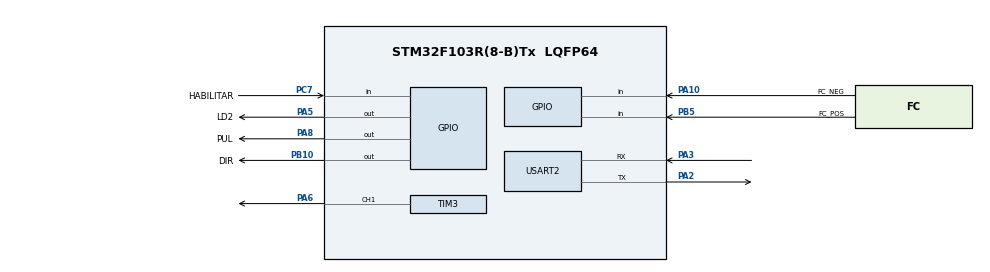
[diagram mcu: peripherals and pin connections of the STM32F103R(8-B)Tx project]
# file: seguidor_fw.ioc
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Mcu.Family=STM32F1
Mcu.Name=STM32F103R(8-B)Tx
Mcu.Package=LQFP64
NVIC.PriorityGroup=NVIC_PRIORITYGROUP_4
NVIC.TIM2_IRQn=true\:0\:0\:false\:false\:true\:true\:true\:true
NVIC.USART2_IRQn=true\:0\:0\:false\:false\:true\:true\:true\:true
PA10.GPIO_Label=FC_NEG
PA10.GPIO_PuPd=GPIO_PULLUP
PA10.Signal=GPIO_Input
PA2.Mode=Asynchronous
PA2.Signal=USART2_TX
PA3.Mode=Asynchronous
PA3.Signal=USART2_RX
PA5.GPIO_Label=LD2
PA5.Signal=GPIO_Output
PA6.Signal=S_TIM3_CH1
PA8.GPIO_Label=PUL
PA8.Signal=GPIO_Output
PB10.GPIO_Label=DIR
PB10.Signal=GPIO_Output
PB5.GPIO_Label=FC_POS
PB5.GPIO_PuPd=GPIO_PULLUP
PB5.Signal=GPIO_Input
PC7.GPIO_Label=HABILITAR
PC7.GPIO_PuPd=GPIO_PULLUP
PC7.Signal=GPIO_Input
ProjectManager.HeapSize=0x200
ProjectManager.StackSize=0x400
ProjectManager.TargetToolchain=STM32CubeIDE
RCC.APB1Freq_Value=8000000
RCC.APB1TimFreq_Value=8000000
RCC.APB2Freq_Value=8000000
SH.S_TIM3_CH1.0=TIM3_CH1,PWM Generation1 CH1
TIM2.Period=499
TIM2.Prescaler=7
TIM3.Channel-PWM\ Generation1\ CH1=TIM_CHANNEL_1
TIM3.Period=19999
TIM3.Prescaler=7
TIM3.Pulse-PWM\ Generation1\ CH1=1500
USART2.VirtualMode=VM_ASYNC
VP_SYS_VS_ND.Mode=No_Debug
VP_TIM2_VS_ClockSourceINT.Mode=Internal
VP_TIM3_VS_ClockSourceINT.Mode=Internal
board=custom

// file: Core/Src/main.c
/* USER CODE BEGIN Header */
/**
  ******************************************************************************
  * @file           : main.c
  * @brief          : Main program body
  ******************************************************************************
  * @attention
  *
  * Copyright (c) 2026 STMicroelectronics.
  * All rights reserved.
  *
  * This software is licensed under terms that can be found in the LICENSE file
  * in the root directory of this software component.
  * If no LICENSE file comes with this software, it is provided AS-IS.
  *
  ******************************************************************************
  */
/* USER CODE END Header */
#include "main.h"

/* USER CODE BEGIN Includes */
#include <stdio.h>
#include <string.h>
/* USER CODE END Includes */

TIM_HandleTypeDef htim2;
TIM_HandleTypeDef htim3;

UART_HandleTypeDef huart2;

/* USER CODE BEGIN PV */
static uint8_t rx_byte;                 // el byte que acaba de llegar
static char rx_buf[32];                 // la línea que se está armando
static uint8_t rx_len = 0;              // cuántos caracteres lleva
static char linea[32];                  // la última línea completa
static volatile uint8_t linea_lista = 0;

#define SERVO_US_MIN   500   // pulso para 0°
#define SERVO_US_MAX   2000   // pulso para 180°
#define TILT_MIN       0      // décimas de grado
#define TILT_MAX       1800

#define PASOS_POR_VUELTA  1600    // 200 pasos x 8 micropasos
#define PAN_MIN           -900   // décimas de grado
#define PAN_MAX           900

static volatile int32_t pan_pos = 0;   // pasos dados desde el arranque
static volatile int32_t pan_obj = 0;   // pasos a los que hay que ir
static uint8_t pul_alto = 0;
static int8_t dir_actual = 0;

#define FC_ACTIVO   GPIO_PIN_RESET   // botones NO: apretado = 0
static uint8_t bloqueo_pos = 0;   // se tocó FC_POS, no avanzar hacia +
static uint8_t bloqueo_neg = 0;   // se tocó FC_NEG, no avanzar hacia −

// Devuelve 1 si el interruptor está en ON (pin a GND = 0), 0 si está en OFF.
// Es una macro: el compilador reemplaza HABILITADO() por la lectura del pin
// en cada lugar donde aparece. Evita repetir la misma línea larga 4 veces.
#define HABILITADO()  (HAL_GPIO_ReadPin(HABILITAR_GPIO_Port, HABILITAR_Pin) == GPIO_PIN_RESET)

// Último estado del interruptor que se le informó a la Raspberry.
static uint8_t en_informado = 0;
// Última vez (en ms) que el pin coincidía con lo informado.
// Sirve para medir cuánto tiempo lleva el pin en un valor distinto.
static uint32_t t_en_estable = 0;

/* USER CODE END PV */

void SystemClock_Config(void);
static void MX_GPIO_Init(void);
static void MX_USART2_UART_Init(void);
static void MX_TIM3_Init(void);
static void MX_TIM2_Init(void);

/* USER CODE BEGIN 0 */
void HAL_UART_RxCpltCallback(UART_HandleTypeDef *huart)
{
	if (huart ->Instance == USART2)
	{
		if (rx_byte == '\r' || rx_byte == '\n')
		{
			if (rx_len > 0 && !linea_lista)
			{
				rx_buf[rx_len] = '\0';
				memcpy(linea, rx_buf, rx_len +1);
				linea_lista = 1;
			}
			rx_len = 0;
		}
		else if (rx_len < sizeof(rx_buf) -1)
		{
			rx_buf[rx_len++] = rx_byte;
		}
		HAL_UART_Receive_IT(&huart2, &rx_byte, 1);
	}
}

static void servo_tilt(long decimas)
{
	uint32_t us = SERVO_US_MIN + (uint32_t) decimas * (SERVO_US_MAX - SERVO_US_MIN) / 1800;
	__HAL_TIM_SET_COMPARE(&htim3, TIM_CHANNEL_1, us);
}

void HAL_TIM_PeriodElapsedCallback(TIM_HandleTypeDef *htim)
{
	if (htim->Instance != TIM2) return;

	if (pul_alto)
	{
	HAL_GPIO_WritePin(PUL_GPIO_Port, PUL_Pin, GPIO_PIN_RESET);
	pul_alto = 0;
	return;
	}

	// Interruptor en OFF: no se da ningún paso.
	// Además se cancela el objetivo, para que al volver a ON
	// el motor no salte a una orden vieja que quedó pendiente.
	if (!HABILITADO())
	{
	pan_obj = pan_pos;
	return;
	}

	int32_t error = pan_obj - pan_pos;
	if (error == 0) return;

	int8_t dir = (error > 0) ? 1 : -1;

	if (dir > 0 && HAL_GPIO_ReadPin(FC_POS_GPIO_Port, FC_POS_Pin) == FC_ACTIVO) bloqueo_pos = 1;
	if (dir < 0 && HAL_GPIO_ReadPin(FC_NEG_GPIO_Port, FC_NEG_Pin) == FC_ACTIVO) bloqueo_neg = 1;

	if ((dir > 0 && bloqueo_pos) || (dir < 0 && bloqueo_neg))
	{
	pan_obj = pan_pos;
	return;
	}

	if (dir != dir_actual)
	{
	HAL_GPIO_WritePin(DIR_GPIO_Port, DIR_Pin,
					  (dir > 0) ? GPIO_PIN_SET : GPIO_PIN_RESET);
	dir_actual = dir;
	return;
	}

	HAL_GPIO_WritePin(PUL_GPIO_Port, PUL_Pin, GPIO_PIN_SET);
	pul_alto = 1;
	pan_pos += dir;

	if (dir > 0) bloqueo_neg = 0;
	if (dir < 0) bloqueo_pos = 0;
}

// Envía a la Raspberry el estado del interruptor: "EN1" habilitado, "EN0" deshabilitado.
// Se llama al arrancar y cada vez que el interruptor cambia.
static void informar_en(uint8_t en)
{
	char msg[8];
	snprintf(msg, sizeof(msg), "EN%d\r\n", en);
	HAL_UART_Transmit(&huart2, (uint8_t *)msg, strlen(msg), 100);
}

static void procesar_linea(const char *s)
{
	char resp[64];
	long pan, tilt;

	if (strcmp(s, "S") == 0)
	{
	    int fn = (HAL_GPIO_ReadPin(FC_NEG_GPIO_Port, FC_NEG_Pin) == FC_ACTIVO);
	    int fp = (HAL_GPIO_ReadPin(FC_POS_GPIO_Port, FC_POS_Pin) == FC_ACTIVO);
		long pos = (long)pan_pos * 3600 / PASOS_POR_VUELTA;
		long obj = (long)pan_obj * 3600 / PASOS_POR_VUELTA;
	    snprintf(resp, sizeof(resp), "ST POS%ld OBJ%ld FN%d FP%d BN%d BP%d EN%d\r\n",
	             pos, obj, fn, fp, bloqueo_neg, bloqueo_pos, HABILITADO());
	    HAL_UART_Transmit(&huart2, (uint8_t *)resp, strlen(resp), 100);
		return;
	}

	// Interruptor en OFF: no se mueve nada. Se responde OFF
	// para que la Raspberry sepa que la orden no se ejecutó.
	if (!HABILITADO())
	{
	snprintf(resp, sizeof(resp), "OFF\r\n");
	HAL_UART_Transmit(&huart2, (uint8_t *)resp, strlen(resp), 100);
	return;
	}

	if(sscanf(s, "P%ld T%ld", &pan, &tilt) == 2)
	{
		if (tilt < TILT_MIN) tilt = TILT_MIN;
		if (tilt > TILT_MAX) tilt = TILT_MAX;
		servo_tilt(tilt);

	    if (pan < PAN_MIN) pan = PAN_MIN;
	    if (pan > PAN_MAX) pan = PAN_MAX;
	    pan_obj = (int32_t)pan * PASOS_POR_VUELTA / 3600;

		snprintf(resp, sizeof(resp), "OK P%ld T%ld\r\n", pan, tilt);
	}
	else
	{
		snprintf(resp, sizeof(resp), "ERR\r\n");
	}
	HAL_UART_Transmit(&huart2, (uint8_t *)resp, strlen(resp), 100);
}
/* USER CODE END 0 */

int main(void)
{

  /* MCU Configuration--------------------------------------------------------*/

  /* Reset of all peripherals, Initializes the Flash interface and the Systick. */
  HAL_Init();

  /* Configure the system clock */
  SystemClock_Config();

  /* Initialize all configured peripherals */
  MX_GPIO_Init();
  MX_USART2_UART_Init();
  MX_TIM3_Init();
  MX_TIM2_Init();

  /* USER CODE BEGIN 2 */
  HAL_UART_Receive_IT(&huart2, &rx_byte, 1);
  uint32_t t_led = HAL_GetTick();
  HAL_TIM_PWM_Start(&htim3, TIM_CHANNEL_1);
  HAL_TIM_Base_Start_IT(&htim2);

  // Informar el estado inicial del interruptor al arrancar.
  en_informado = HABILITADO();
  t_en_estable = HAL_GetTick();
  informar_en(en_informado);
  /* USER CODE END 2 */

  /* Infinite loop */
  while (1)
  {

    /* USER CODE BEGIN 3 */
	  if (linea_lista)
	  {
		  procesar_linea(linea);
		  linea_lista = 0;
	  }

	// Antirrebote del interruptor, solo para el aviso a la Raspberry.
	// Si el pin cambió, se espera a que pasen 20 ms seguidos sin volver atrás.
	uint8_t en_ahora = HABILITADO();
	if (en_ahora == en_informado)
	{
	  t_en_estable = HAL_GetTick();
	}
	else if (HAL_GetTick() - t_en_estable >= 20)
	{
	  en_informado = en_ahora;
	  informar_en(en_informado);
	}

	// LD2: apagado = motores deshabilitados
	//      fijo     = algún fin de carrera activo
	//      parpadea = todo normal
	if (!HABILITADO())
	{
	  HAL_GPIO_WritePin(LD2_GPIO_Port, LD2_Pin, GPIO_PIN_RESET);
	}
	else if (HAL_GPIO_ReadPin(FC_NEG_GPIO_Port, FC_NEG_Pin) == FC_ACTIVO ||
			 HAL_GPIO_ReadPin(FC_POS_GPIO_Port, FC_POS_Pin) == FC_ACTIVO)
	{
	  HAL_GPIO_WritePin(LD2_GPIO_Port, LD2_Pin, GPIO_PIN_SET);
	}
	else if (HAL_GetTick() - t_led >= 500)
	{
	  t_led = HAL_GetTick();
	  HAL_GPIO_TogglePin(LD2_GPIO_Port, LD2_Pin);
	}
	}
  /* USER CODE END 3 */
}

void SystemClock_Config(void)
{
  RCC_OscInitTypeDef RCC_OscInitStruct = {0};
  RCC_ClkInitTypeDef RCC_ClkInitStruct = {0};

  /** Initializes the RCC Oscillators according to the specified parameters
  * in the RCC_OscInitTypeDef structure.
  */
  RCC_OscInitStruct.OscillatorType = RCC_OSCILLATORTYPE_HSI;
  RCC_OscInitStruct.HSIState = RCC_HSI_ON;
  RCC_OscInitStruct.HSICalibrationValue = RCC_HSICALIBRATION_DEFAULT;
  RCC_OscInitStruct.PLL.PLLState = RCC_PLL_NONE;
  if (HAL_RCC_OscConfig(&RCC_OscInitStruct) != HAL_OK)
  {
    Error_Handler();
  }

  /** Initializes the CPU, AHB and APB buses clocks
  */
  RCC_ClkInitStruct.ClockType = RCC_CLOCKTYPE_HCLK|RCC_CLOCKTYPE_SYSCLK
                              |RCC_CLOCKTYPE_PCLK1|RCC_CLOCKTYPE_PCLK2;
  RCC_ClkInitStruct.SYSCLKSource = RCC_SYSCLKSOURCE_HSI;
  RCC_ClkInitStruct.AHBCLKDivider = RCC_SYSCLK_DIV1;
  RCC_ClkInitStruct.APB1CLKDivider = RCC_HCLK_DIV1;
  RCC_ClkInitStruct.APB2CLKDivider = RCC_HCLK_DIV1;

  if (HAL_RCC_ClockConfig(&RCC_ClkInitStruct, FLASH_LATENCY_0) != HAL_OK)
  {
    Error_Handler();
  }
}

static void MX_TIM2_Init(void)
{

  TIM_ClockConfigTypeDef sClockSourceConfig = {0};
  TIM_MasterConfigTypeDef sMasterConfig = {0};

  htim2.Instance = TIM2;
  htim2.Init.Prescaler = 7;
  htim2.Init.CounterMode = TIM_COUNTERMODE_UP;
  htim2.Init.Period = 499;
  htim2.Init.ClockDivision = TIM_CLOCKDIVISION_DIV1;
  htim2.Init.AutoReloadPreload = TIM_AUTORELOAD_PRELOAD_DISABLE;
  if (HAL_TIM_Base_Init(&htim2) != HAL_OK)
  {
    Error_Handler();
  }
  sClockSourceConfig.ClockSource = TIM_CLOCKSOURCE_INTERNAL;
  if (HAL_TIM_ConfigClockSource(&htim2, &sClockSourceConfig) != HAL_OK)
  {
    Error_Handler();
  }
  sMasterConfig.MasterOutputTrigger = TIM_TRGO_RESET;
  sMasterConfig.MasterSlaveMode = TIM_MASTERSLAVEMODE_DISABLE;
  if (HAL_TIMEx_MasterConfigSynchronization(&htim2, &sMasterConfig) != HAL_OK)
  {
    Error_Handler();
  }

}

static void MX_TIM3_Init(void)
{

  TIM_ClockConfigTypeDef sClockSourceConfig = {0};
  TIM_MasterConfigTypeDef sMasterConfig = {0};
  TIM_OC_InitTypeDef sConfigOC = {0};

  htim3.Instance = TIM3;
  htim3.Init.Prescaler = 7;
  htim3.Init.CounterMode = TIM_COUNTERMODE_UP;
  htim3.Init.Period = 19999;
  htim3.Init.ClockDivision = TIM_CLOCKDIVISION_DIV1;
  htim3.Init.AutoReloadPreload = TIM_AUTORELOAD_PRELOAD_DISABLE;
  if (HAL_TIM_Base_Init(&htim3) != HAL_OK)
  {
    Error_Handler();
  }
  sClockSourceConfig.ClockSource = TIM_CLOCKSOURCE_INTERNAL;
  if (HAL_TIM_ConfigClockSource(&htim3, &sClockSourceConfig) != HAL_OK)
  {
    Error_Handler();
  }
  if (HAL_TIM_PWM_Init(&htim3) != HAL_OK)
  {
    Error_Handler();
  }
  sMasterConfig.MasterOutputTrigger = TIM_TRGO_RESET;
  sMasterConfig.MasterSlaveMode = TIM_MASTERSLAVEMODE_DISABLE;
  if (HAL_TIMEx_MasterConfigSynchronization(&htim3, &sMasterConfig) != HAL_OK)
  {
    Error_Handler();
  }
  sConfigOC.OCMode = TIM_OCMODE_PWM1;
  sConfigOC.Pulse = 1500;
  sConfigOC.OCPolarity = TIM_OCPOLARITY_HIGH;
  sConfigOC.OCFastMode = TIM_OCFAST_DISABLE;
  if (HAL_TIM_PWM_ConfigChannel(&htim3, &sConfigOC, TIM_CHANNEL_1) != HAL_OK)
  {
    Error_Handler();
  }
  HAL_TIM_MspPostInit(&htim3);

}

static void MX_USART2_UART_Init(void)
{

  huart2.Instance = USART2;
  huart2.Init.BaudRate = 115200;
  huart2.Init.WordLength = UART_WORDLENGTH_8B;
  huart2.Init.StopBits = UART_STOPBITS_1;
  huart2.Init.Parity = UART_PARITY_NONE;
  huart2.Init.Mode = UART_MODE_TX_RX;
  huart2.Init.HwFlowCtl = UART_HWCONTROL_NONE;
  huart2.Init.OverSampling = UART_OVERSAMPLING_16;
  if (HAL_UART_Init(&huart2) != HAL_OK)
  {
    Error_Handler();
  }

}

static void MX_GPIO_Init(void)
{
  GPIO_InitTypeDef GPIO_InitStruct = {0};

  /* GPIO Ports Clock Enable */
  __HAL_RCC_GPIOA_CLK_ENABLE();
  __HAL_RCC_GPIOB_CLK_ENABLE();
  __HAL_RCC_GPIOC_CLK_ENABLE();

  /*Configure GPIO pin Output Level */
  HAL_GPIO_WritePin(GPIOA, LD2_Pin|PUL_Pin, GPIO_PIN_RESET);

  /*Configure GPIO pin Output Level */
  HAL_GPIO_WritePin(DIR_GPIO_Port, DIR_Pin, GPIO_PIN_RESET);

  /*Configure GPIO pins : LD2_Pin PUL_Pin */
  GPIO_InitStruct.Pin = LD2_Pin|PUL_Pin;
  GPIO_InitStruct.Mode = GPIO_MODE_OUTPUT_PP;
  GPIO_InitStruct.Pull = GPIO_NOPULL;
  GPIO_InitStruct.Speed = GPIO_SPEED_FREQ_LOW;
  HAL_GPIO_Init(GPIOA, &GPIO_InitStruct);

  /*Configure GPIO pin : DIR_Pin */
  GPIO_InitStruct.Pin = DIR_Pin;
  GPIO_InitStruct.Mode = GPIO_MODE_OUTPUT_PP;
  GPIO_InitStruct.Pull = GPIO_NOPULL;
  GPIO_InitStruct.Speed = GPIO_SPEED_FREQ_LOW;
  HAL_GPIO_Init(DIR_GPIO_Port, &GPIO_InitStruct);

  /*Configure GPIO pin : HABILITAR_Pin */
  GPIO_InitStruct.Pin = HABILITAR_Pin;
  GPIO_InitStruct.Mode = GPIO_MODE_INPUT;
  GPIO_InitStruct.Pull = GPIO_PULLUP;
  HAL_GPIO_Init(HABILITAR_GPIO_Port, &GPIO_InitStruct);

  /*Configure GPIO pin : FC_NEG_Pin */
  GPIO_InitStruct.Pin = FC_NEG_Pin;
  GPIO_InitStruct.Mode = GPIO_MODE_INPUT;
  GPIO_InitStruct.Pull = GPIO_PULLUP;
  HAL_GPIO_Init(FC_NEG_GPIO_Port, &GPIO_InitStruct);

  /*Configure GPIO pin : FC_POS_Pin */
  GPIO_InitStruct.Pin = FC_POS_Pin;
  GPIO_InitStruct.Mode = GPIO_MODE_INPUT;
  GPIO_InitStruct.Pull = GPIO_PULLUP;
  HAL_GPIO_Init(FC_POS_GPIO_Port, &GPIO_InitStruct);

}

void Error_Handler(void)
{
  __disable_irq();
  while (1)
  {
  }
}
